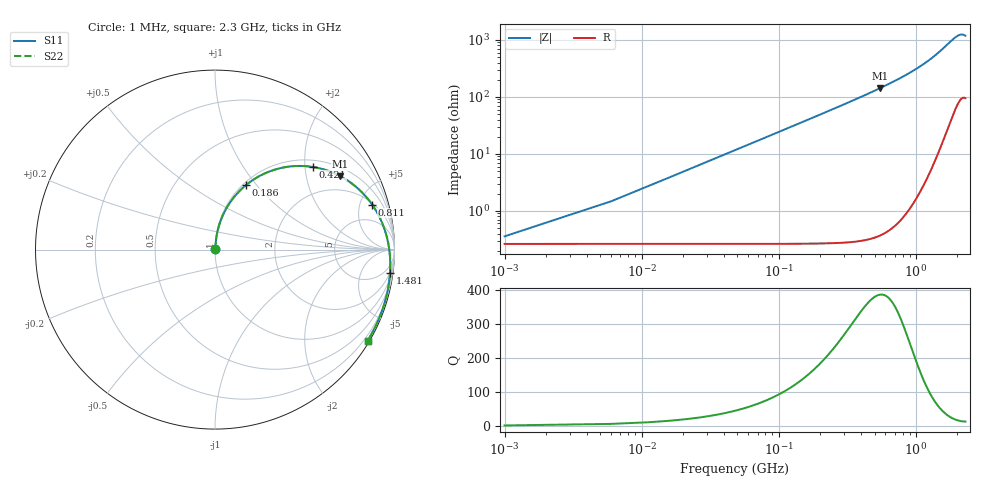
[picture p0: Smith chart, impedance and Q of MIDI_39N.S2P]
! Coilcraft 1812SMS-39N Midi Spring Air Core Inductor
! 10 June 2003
# MHZ S MA R 50
!Freq  MagS11  AngS11  MagS21  AngS21  MagS12  AngS12  MagS22  AngS22
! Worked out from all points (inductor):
!   461 points, 1 MHz to 2.3 GHz, reference 50 ohm
!   read as one part in series: L = 38.5 nH near 11 MHz
!   highest Q = 385 at 551 MHz (marker M1), where L = 41.3 nH
!   S11 on the Smith chart (normalised r, x): 1 MHz: 1.01, +0.00; 186 MHz: 1.03, +0.89; 421 MHz: 1.17, +2.21; 811 MHz: 2.18, +6.41; 1.481 GHz: 2, -15; 2.3 GHz: 0.07, -3.62
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1  0.003505 41.5  0.9974 -0.1  0.9974 -0.1  0.003506 41.5
6  0.01421 78.5  0.9973 -0.9  0.9973 -0.9  0.01421 78.5
16  0.03731 83.7  0.9967 -2.3  0.9967 -2.3  0.03732 83.7
21  0.04889 83.9  0.9962 -3.0  0.9962 -3.0  0.04891 83.9
31  0.07203 83.5  0.9948 -4.4  0.9948 -4.4  0.07206 83.5
46  0.1065 82.0  0.9917 -6.6  0.9917 -6.6  0.1066 82.0
71  0.1632 79.0  0.984 -10.1  0.984 -10.1  0.1633 79.0
101  0.2294 75.1  0.9708 -14.2  0.9708 -14.2  0.2295 75.1
141  0.3131 69.9  0.9472 -19.6  0.9472 -19.6  0.3133 69.9
186  0.4 64.3  0.914 -25.4  0.914 -25.4  0.4002 64.3
281  0.5545 53.3  0.8298 -36.4  0.8298 -36.4  0.5547 53.3
386  0.6813 43.1  0.7297 -46.7  0.7297 -46.7  0.6815 43.1
421  0.7147 40.1  0.6971 -49.8  0.6971 -49.8  0.715 40.1
551  0.8094 30.3  0.5848 -59.5  0.5848 -59.5  0.8097 30.3
771  0.9002 17.8  0.4322 -72.0  0.4322 -72.0  0.9005 17.8
811  0.9108 15.9  0.4092 -73.9  0.4092 -73.9  0.9112 15.9
1151  0.9643 2.6  0.2563 -86.9  0.2563 -86.9  0.9647 2.6
1481  0.9837 -7.6  0.1605 -96.5  0.1605 -96.5  0.9841 -7.6
1536  0.9854 -9.2  0.1483 -97.9  0.1483 -97.9  0.9858 -9.2
1921  0.9909 -19.8  0.08876 -106.7  0.08876 -106.7  0.9912 -19.8
2121  0.9909 -25.5  0.07629 -111.2  0.07629 -111.2  0.9913 -25.5
2300  0.9899 -30.8  0.078 -116.1  0.078 -116.1  0.9902 -30.8
